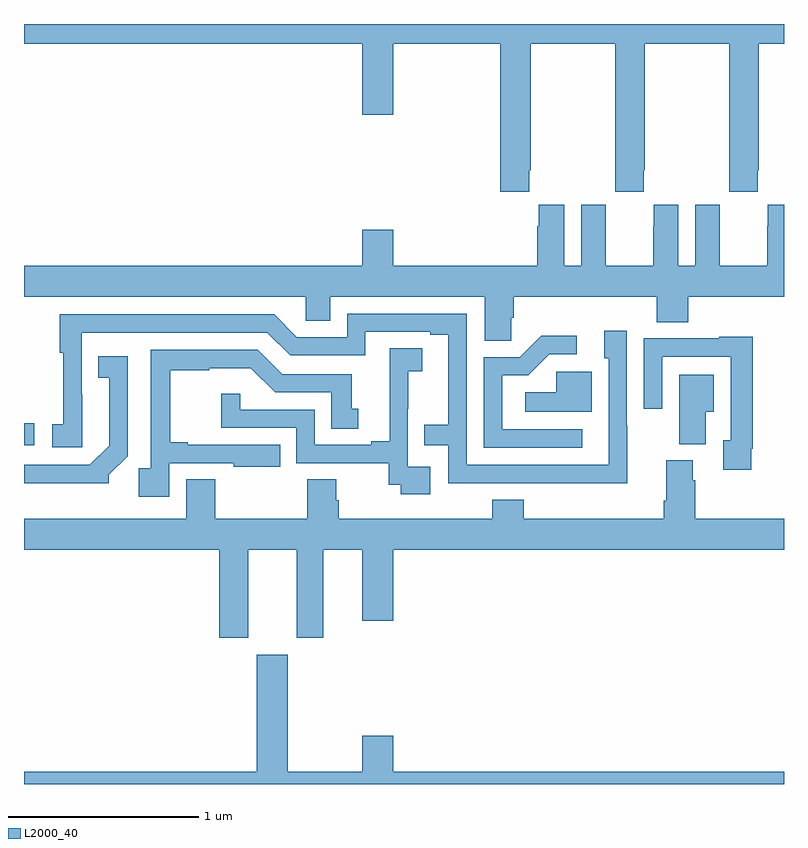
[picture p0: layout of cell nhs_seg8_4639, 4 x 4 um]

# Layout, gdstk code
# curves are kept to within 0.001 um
import gdstk
lib = gdstk.Library(unit=1e-6, precision=1e-09)
def R(c, l, rs):  # rectangles x0, y0, x1, y1
    for r in rs: c.add(gdstk.rectangle(r[:2], r[2:], *l))
def P(c, l, *ps):  # polygons
    for p in ps: c.add(gdstk.Polygon(p, *l))
L2000_40 = (2000, 40)

nhs_seg8_4639 = lib.new_cell('nhs_seg8_4639')
R(nhs_seg8_4639, L2000_40, [(391,1151.682,391.054,1151.798)])
P(nhs_seg8_4639, L2000_40, [(393.659,1153.129),(393.666,1153.129),(393.666,1153.796),(394.111,1153.796),(394.111,1153.129),(394.113,1153.129),(394.113,1153.017),(394.263,1153.017),(394.263,1153.129),(394.266,1153.129),(394.266,1153.796),(394.711,1153.796),(394.711,1153.129),(394.713,1153.129),(394.713,1153.017),(394.863,1153.017),(394.863,1153.129),(394.866,1153.129),(394.866,1153.796),(395,1153.796),(395,1153.9),(391,1153.9),(391,1153.796),(392.78,1153.796),(392.78,1153.422),(392.944,1153.422),(392.944,1153.796),(393.506,1153.796),(393.506,1153.017),(393.659,1153.017)],
  [(393.564,1152.355),(393.578,1152.355),(393.578,1152.464),(394.331,1152.464),(394.331,1152.331),(394.496,1152.331),(394.496,1152.464),(395,1152.464),(395,1152.949),(394.914,1152.949),(394.914,1152.836),(394.913,1152.836),(394.913,1152.628),(394.663,1152.628),(394.663,1152.836),(394.662,1152.836),(394.662,1152.949),(394.532,1152.949),(394.532,1152.628),(394.444,1152.628),(394.444,1152.949),(394.314,1152.949),(394.314,1152.836),(394.313,1152.836),(394.313,1152.628),(394.063,1152.628),(394.063,1152.836),(394.062,1152.836),(394.062,1152.949),(393.932,1152.949),(393.932,1152.628),(393.844,1152.628),(393.844,1152.949),(393.71,1152.949),(393.71,1152.836),(393.701,1152.836),(393.701,1152.628),(392.944,1152.628),(392.944,1152.817),(392.78,1152.817),(392.78,1152.628),(391,1152.628),(391,1152.464),(392.484,1152.464),(392.484,1152.337),(392.611,1152.337),(392.611,1152.464),(393.425,1152.464),(393.425,1152.232),(393.564,1152.232)],
  [(394.175,1151.786),(394.173,1151.786),(394.173,1152.286),(394.055,1152.286),(394.055,1152.141),(394.077,1152.141),(394.077,1151.58),(393.33,1151.58),(393.33,1152.375),(392.7,1152.375),(392.7,1152.252),(392.436,1152.252),(392.316,1152.372),(391.189,1152.372),(391.189,1152.169),(391.207,1152.169),(391.207,1151.793),(391.149,1151.793),(391.149,1151.673),(391.306,1151.673),(391.305,1152.276),(392.28,1152.276),(392.4,1152.156),(392.796,1152.156),(392.796,1152.279),(393.137,1152.279),(393.137,1152.264),(393.233,1152.264),(393.233,1151.791),(393.106,1151.791),(393.106,1151.682),(393.234,1151.682),(393.234,1151.484),(394.175,1151.483)],
  [(393.937,1151.766),(393.516,1151.766),(393.516,1152.051),(393.654,1152.051),(393.765,1152.162),(393.91,1152.162),(393.91,1152.26),(393.722,1152.26),(393.609,1152.147),(393.42,1152.147),(393.42,1151.67),(393.937,1151.67)],
  [(394.828,1151.665),(394.835,1151.665),(394.835,1152.253),(394.659,1152.253),(394.659,1152.246),(394.263,1152.246),(394.263,1151.874),(394.359,1151.874),(394.359,1152.15),(394.719,1152.15),(394.719,1151.709),(394.679,1151.709),(394.679,1151.553),(394.828,1151.553)],
  [(393.139,1151.571),(393.021,1151.571),(393.021,1151.875),(393.023,1151.875),(393.023,1152.073),(393.097,1152.073),(393.097,1152.194),(392.926,1152.194),(392.926,1152.083),(392.924,1152.083),(392.924,1151.705),(392.828,1151.705),(392.828,1151.685),(392.529,1151.685),(392.529,1151.871),(392.139,1151.871),(392.139,1151.953),(392.038,1151.953),(392.038,1151.775),(392.433,1151.775),(392.433,1151.589),(392.92,1151.589),(392.92,1151.475),(392.983,1151.475),(392.983,1151.424),(393.139,1151.424)],
  [(391.764,1151.589),(392.105,1151.589),(392.105,1151.57),(392.348,1151.57),(392.348,1151.685),(391.861,1151.685),(391.861,1151.698),(391.769,1151.698),(391.769,1152.078),(391.976,1152.078),(391.976,1152.089),(392.194,1152.089),(392.322,1151.961),(392.618,1151.961),(392.618,1151.77),(392.758,1151.77),(392.758,1151.874),(392.725,1151.874),(392.725,1152.057),(392.358,1152.057),(392.229,1152.186),(391.668,1152.186),(391.668,1151.563),(391.603,1151.563),(391.603,1151.412),(391.764,1151.412)],
  [(391.446,1151.527),(391.545,1151.626),(391.545,1152.151),(391.39,1152.151),(391.39,1152.038),(391.448,1152.038),(391.448,1151.681),(391.347,1151.58),(391,1151.58),(391,1151.484),(391.446,1151.483)],
  [(393.988,1152.069),(393.801,1152.069),(393.801,1151.962),(393.639,1151.962),(393.639,1151.858),(393.988,1151.858)],
  [(394.588,1151.858),(394.63,1151.858),(394.63,1152.055),(394.448,1152.055),(394.448,1151.689),(394.588,1151.689)],
  [(392.179,1151.132),(392.435,1151.132),(392.435,1150.671),(392.575,1150.671),(392.575,1151.132),(392.78,1151.132),(392.78,1150.758),(392.944,1150.758),(392.944,1151.132),(395,1151.132),(395,1151.296),(394.532,1151.296),(394.532,1151.498),(394.519,1151.498),(394.519,1151.604),(394.379,1151.604),(394.379,1151.392),(394.367,1151.392),(394.367,1151.296),(393.629,1151.296),(393.629,1151.395),(393.464,1151.395),(393.464,1151.296),(392.657,1151.296),(392.657,1151.394),(392.644,1151.394),(392.644,1151.504),(392.492,1151.504),(392.492,1151.296),(392.006,1151.296),(392.006,1151.504),(391.853,1151.504),(391.853,1151.296),(391,1151.296),(391,1151.132),(392.027,1151.132),(392.027,1150.671),(392.179,1150.671)],
  [(395,1149.964),(392.944,1149.964),(392.944,1150.153),(392.78,1150.153),(392.78,1149.964),(392.389,1149.964),(392.389,1150.579),(392.225,1150.579),(392.225,1149.964),(391,1149.964),(391,1149.9),(395,1149.9)])

lib.write_gds('nhs_seg8_4639.gds')
